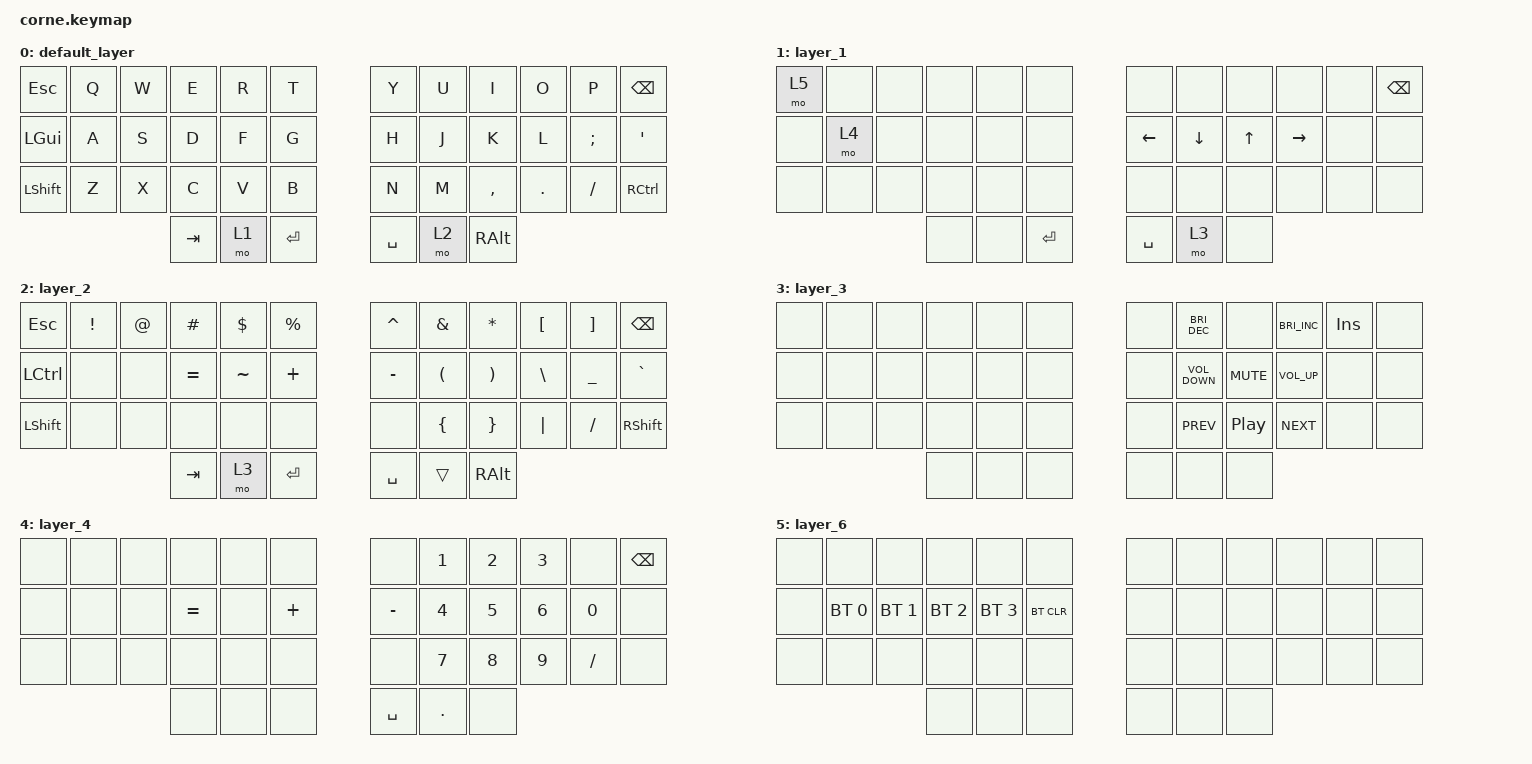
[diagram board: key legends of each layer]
#include <dt-bindings/zmk/mouse.h>
#include <behaviors.dtsi>
#include <dt-bindings/zmk/bt.h>
#include <dt-bindings/zmk/keys.h>

/ {
    behaviors {
        enter_to_tab: enter_to_tab {
            compatible = "zmk,behavior-hold-tap";
            label = "ENTER_TO_TAB";
            bindings = <&kp>, <&kp>;

            #binding-cells = <2>;
            tapping-term-ms = <120>;
            flavor = "hold-preferred";
        };

        hold_tap_for_mod: hold_tap_for_mod {
            compatible = "zmk,behavior-hold-tap";
            label = "HOLD_TAP_FOR_MOD";
            bindings = <&mo>, <&kp>;

            #binding-cells = <2>;
            tapping-term-ms = <200>;
        };
    };

    keymap {
        compatible = "zmk,keymap";

        default_layer {
            bindings = <
&kp ESCAPE      &kp Q  &kp W  &kp E    &kp R  &kp T        &kp Y      &kp U  &kp I          &kp O    &kp P     &kp BSPC
&kp LGUI        &kp A  &kp S  &kp D    &kp F  &kp G        &kp H      &kp J  &kp K          &kp L    &kp SEMI  &kp SQT
&kp LEFT_SHIFT  &kp Z  &kp X  &kp C    &kp V  &kp B        &kp N      &kp M  &kp COMMA      &kp DOT  &kp FSLH  &kp RIGHT_CONTROL
                              &kp TAB  &mo 1  &kp ENTER    &kp SPACE  &mo 2  &kp RIGHT_ALT
            >;
        };

        // misc 

        layer_1 {
            bindings = <
&mo 5  &none  &none  &none  &none  &none        &none      &none     &none   &none      &none  &kp BSPC
&none  &mo 4  &none  &none  &none  &none        &kp LEFT   &kp DOWN  &kp UP  &kp RIGHT  &none  &none
&none  &none  &none  &none  &none  &none        &none      &none     &none   &none      &none  &none
                     &none  &none  &kp ENTER    &kp SPACE  &mo 3     &none
            >;
        };

        // symbols

        layer_2 {
            bindings = <
&kp ESCAPE  &kp EXCL  &kp AT  &kp HASH   &kp DLLR   &kp PRCNT    &kp CARET  &kp AMPS              &kp ASTRK              &kp LEFT_BRACKET  &kp RIGHT_BRACKET  &kp BSPC
&kp LCTRL   &none     &none   &kp EQUAL  &kp TILDE  &kp PLUS     &kp MINUS  &kp LEFT_PARENTHESIS  &kp RIGHT_PARENTHESIS  &kp BACKSLASH     &kp UNDERSCORE     &kp GRAVE
&kp LSHFT   &none     &none   &none      &none      &none        &none      &kp LEFT_BRACE        &kp RIGHT_BRACE        &kp PIPE          &kp FSLH           &kp RIGHT_SHIFT
                              &kp TAB    &mo 3      &kp ENTER    &kp SPACE  &trans                &kp RALT
            >;
        };

        // utils 

        layer_3 {
            bindings = <
&none  &none  &none  &none  &none  &none    &none  &kp C_BRIGHTNESS_DEC  &none             &kp C_BRIGHTNESS_INC  &kp INS  &none
&none  &none  &none  &none  &none  &none    &none  &kp K_VOLUME_DOWN     &kp K_MUTE        &kp K_VOLUME_UP       &none    &none
&none  &none  &none  &none  &none  &none    &none  &kp C_PREV            &kp C_PLAY_PAUSE  &kp C_NEXT            &none    &none
                     &none  &none  &none    &none  &none                 &none
            >;
        };

        // number pad

        layer_4 {
            bindings = <
&none  &none  &none  &none      &none  &none       &none      &kp N1   &kp N2  &kp N3  &none     &kp BSPC
&none  &none  &none  &kp EQUAL  &none  &kp PLUS    &kp MINUS  &kp N4   &kp N5  &kp N6  &kp N0    &none
&none  &none  &none  &none      &none  &none       &none      &kp N7   &kp N8  &kp N9  &kp FSLH  &none
                     &none      &none  &none       &kp SPACE  &kp DOT  &none
            >;
        };

        // profile

        layer_6 {
            bindings = <
&none  &none         &none         &none         &none         &none         &none  &none  &none  &none  &none  &none
&none  &bt BT_SEL 0  &bt BT_SEL 1  &bt BT_SEL 2  &bt BT_SEL 3  &bt BT_CLR    &none  &none  &none  &none  &none  &none
&none  &none         &none         &none         &none         &none         &none  &none  &none  &none  &none  &none
                                   &none         &none         &none         &none  &none  &none
            >;
        };
    };
};
